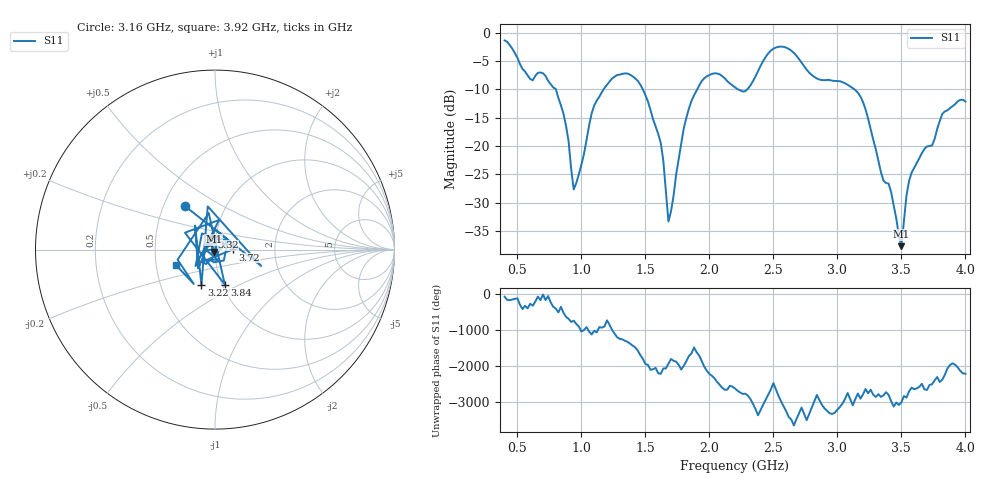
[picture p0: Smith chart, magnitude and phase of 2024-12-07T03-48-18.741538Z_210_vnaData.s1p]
!Created with skrf (http://scikit-rf.org).
# Hz S RI R 50.0
!freq ReS11 ImS11
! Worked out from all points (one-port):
!   181 points, 400 MHz to 4 GHz, reference 50 ohm
!   lowest |S11| = -37.7 dB at 3.5 GHz (marker M1), VSWR 1.03, Z = 49.3 - j1.07 ohm
!   |S11| at or under -10 dB: 800.9 MHz to 1.173 GHz (372.5 MHz wide, 37.7 % of centre); 1.48 GHz to 1.905 GHz (424.8 MHz wide, 25.1 % of centre); 3.133 GHz to end of sweep (the widest 3 of 4)
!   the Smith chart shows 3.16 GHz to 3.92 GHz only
!   S11 on the Smith chart (normalised r, x): 3.16 GHz: 0.64, +0.34; 3.22 GHz: 0.80, -0.33; 3.32 GHz: 0.95, +0.14; 3.72 GHz: 1.22, +0.00; 3.84 GHz: 1.03, -0.42; 3.92 GHz: 0.63, -0.11
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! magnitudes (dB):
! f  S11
! 400 MHz  -1.4
! 600 MHz  -8.2
! 720 MHz  -7.6
! 860 MHz  -14.3
! 940 MHz  -27.7
! 1.1 GHz  -12.8
! 1.3 GHz  -7.4
! 1.52 GHz  -12.2
! 1.62 GHz  -19.5
! 1.68 GHz  -33.3
! 1.76 GHz  -22.3
! 1.84 GHz  -13.4
! 1.94 GHz  -8.5
! 2.2 GHz  -9.6
! 2.3 GHz  -9.9
! 2.5 GHz  -2.8
! 2.66 GHz  -3.6
! 3.1 GHz  -9.5
! 3.16 GHz  -10.6
! 3.22 GHz  -13.5
! 3.32 GHz  -22.6
! 3.42 GHz  -28.2
! 3.5 GHz  -37.7
! 3.56 GHz  -26.1
! 3.72 GHz  -20.0
! 3.84 GHz  -13.9
! 3.92 GHz  -12.6
! 4 GHz  -12.1
